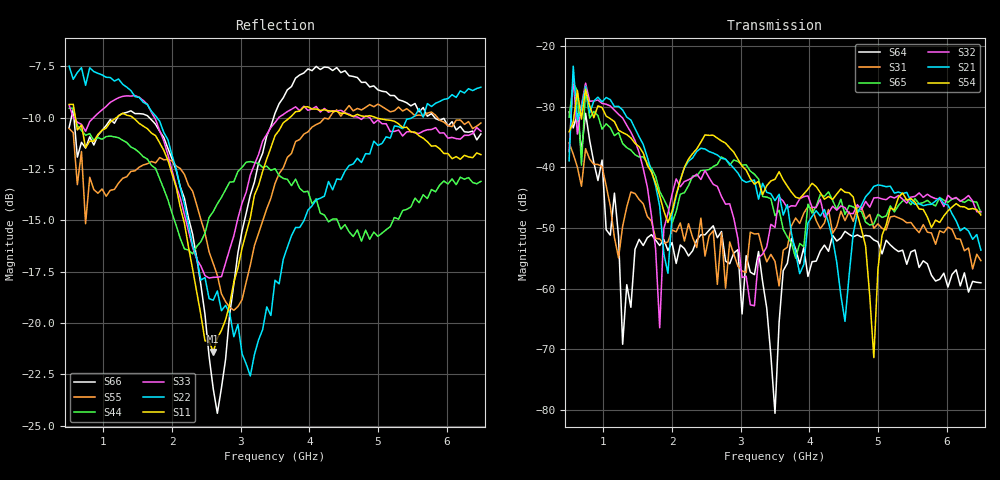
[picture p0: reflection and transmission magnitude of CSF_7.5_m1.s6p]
!Keysight Technologies,M9804A,MY58100912,A.14.10.03
!Date: Thursday, April 27, 2023 10:28:33
!Correction: S11(C  6-Port  )
!S12(C  6-Port  )
!S13(C  6-Port  )
!S14(C  6-Port  )
!S15(C  6-Port  )
!S16(C  6-Port  )
!S21(C  6-Port  )
!S22(C  6-Port  )
!S23(C  6-Port  )
!S24(C  6-Port  )
!S25(C  6-Port  )
!S26(C  6-Port  )
!S31(C  6-Port  )
!S32(C  6-Port  )
!S33(C  6-Port  )
!S34(C  6-Port  )
!S35(C  6-Port  )
!S36(C  6-Port  )
!S41(C  6-Port  )
!S42(C  6-Port  )
!S43(C  6-Port  )
!S44(C  6-Port  )
!S45(C  6-Port  )
!S46(C  6-Port  )
!S51(C  6-Port  )
!S52(C  6-Port  )
!S53(C  6-Port  )
!S54(C  6-Port  )
!S55(C  6-Port  )
!S56(C  6-Port  )
!S61(C  6-Port  )
!S62(C  6-Port  )
!S63(C  6-Port  )
!S64(C  6-Port  )
!S65(C  6-Port  )
!S66(C  6-Port  )
!S6P File: Measurement: :
# Hz S  RI  R 50
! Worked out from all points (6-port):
!   101 points, 500 MHz to 6.5 GHz, reference 50 ohm
!   strongest paths, dB at 500 MHz, 2 GHz, 3.5 GHz, 5 GHz, 6.5 GHz:
!     S54: -34.1, -47.3, -41.9, -56.7, -47.8
!     S21: -38.9, -47.8, -45.5, -42.9, -53.6
!     S32: -37.4, -44.4, -49.9, -45.0, -47.3
!     S65: -31.7, -49.2, -48.0, -47.7, -47.5
!     S31: -36.0, -50.3, -55.5, -49.3, -55.4
!     S64: -30.9, -52.4, -80.6, -52.3, -59.0
!   lowest |S11| = -21.4 dB at 2.6 GHz (marker M1), VSWR 1.19, Z = 42.4 + j2.17 ohm
!   |S11| at or under -10 dB: 591.4 MHz to 1.188 GHz (597.1 MHz wide, 67.1 % of centre); 1.43 GHz to 3.714 GHz (2.284 GHz wide, 88.8 % of centre); 4.972 GHz to end of sweep
